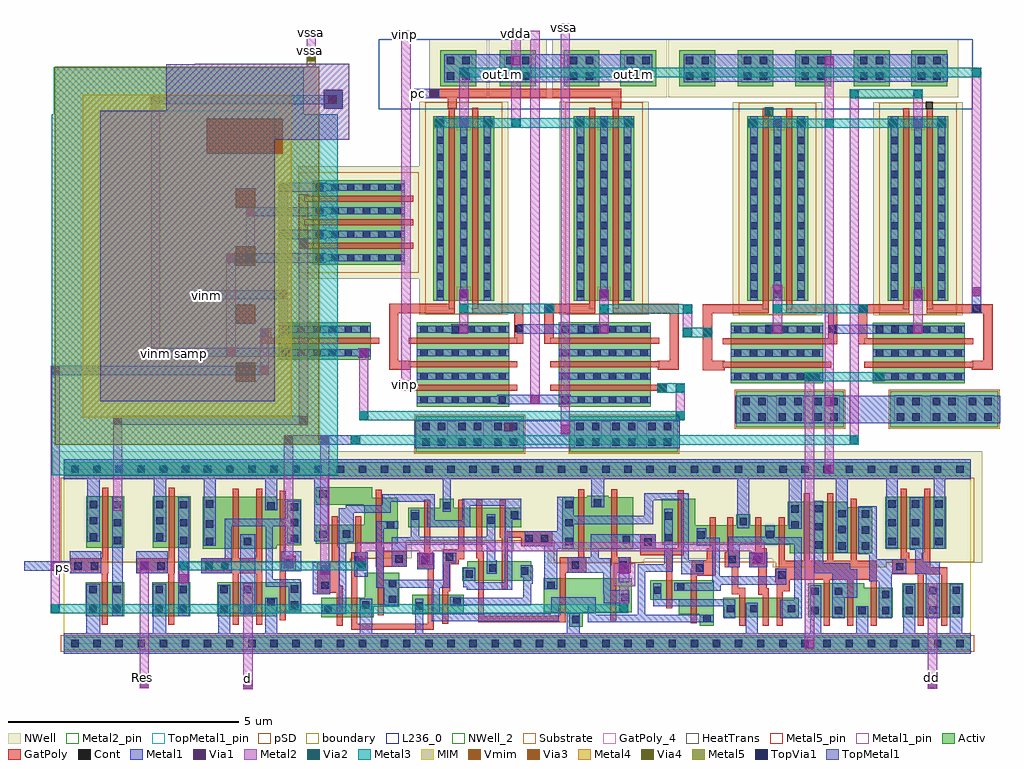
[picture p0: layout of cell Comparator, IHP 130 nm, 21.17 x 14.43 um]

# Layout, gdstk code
from math import pi, radians
import gdstk
lib = gdstk.Library(unit=1e-6, precision=1e-09)
def R(c, l, rs):  # rectangles x0, y0, x1, y1
    for r in rs: c.add(gdstk.rectangle(r[:2], r[2:], *l))
def A(c, l, x, y, w, h, nx, ny, dx, dy):  # array of equal rectangles
    R(c, l, [(x+i*dx, y+j*dy, x+i*dx+w, y+j*dy+h) for i in range(nx) for j in range(ny)])
def P(c, l, *ps):  # polygons
    for p in ps: c.add(gdstk.Polygon(p, *l))
Activ = (1, 0)
GatPoly = (5, 0)
GatPoly_4 = (5, 4)
Cont = (6, 0)
Metal1 = (8, 0)
Metal1_pin = (8, 2)
Metal2 = (10, 0)
Metal2_pin = (10, 2)
pSD = (14, 0)
Via1 = (19, 0)
Via2 = (29, 0)
Metal3 = (30, 0)
NWell = (31, 0)
NWell_2 = (31, 2)
MIM = (36, 0)
Substrate = (40, 0)
Via3 = (49, 0)
Metal4 = (50, 0)
HeatTrans = (51, 0)
Via4 = (66, 0)
Metal5 = (67, 0)
Metal5_pin = (67, 2)
TopVia1 = (125, 0)
TopMetal1 = (126, 0)
TopMetal1_pin = (126, 2)
Vmim = (129, 0)
boundary = (189, 4)
L236_0 = (236, 0)

ntap = lib.new_cell('ntap')
R(ntap, Activ, [(0,0,0.78,0.78)])
R(ntap, Cont, [(0.14,0.14,0.3,0.3), (0.48,0.14,0.64,0.3), (0.14,0.48,0.3,0.64), (0.48,0.48,0.64,0.64)])
R(ntap, Metal1, [(0.09,0.09,0.69,0.69)])
R(ntap, Metal1_pin, [(0.09,0.09,0.69,0.69)])
R(ntap, NWell, [(-0.24,-0.24,1.02,1.02)])
R(ntap, NWell_2, [(0,0,0.78,0.78)])
R(ntap, L236_0, [(-1.334,-0.5,1.334,1.02)])
ntap.add(gdstk.Label('well', (0,0), layer=63, texttype=0))
ntap.add(gdstk.Label('[@instanceName]', (0,0.26), layer=236, texttype=1))

sg13g2_buf_2 = lib.new_cell('sg13g2_buf_2')
R(sg13g2_buf_2, Activ, [(0,-0.15,2.4,0.15), (0,3.63,2.4,3.93)])
P(sg13g2_buf_2, Activ, [(0.445,0.59),(0.445,1.33),(2.275,1.33),(2.275,0.69),(1.735,0.69),(1.735,0.59)],
  [(0.13,2.06),(0.13,3.18),(1.735,3.18),(1.735,3.135),(2.275,3.135),(2.275,2.135),(1.735,2.135),(1.735,2.06)])
P(sg13g2_buf_2, GatPoly, [(0.785,0.41),(0.785,1.52),(0.105,1.52),(0.105,1.85),(0.785,1.85),(0.785,3.36),(0.915,3.36),(0.915,1.85),(1.295,1.85),(1.295,3.36),(1.425,3.36),(1.425,0.41),(1.295,0.41),(1.295,1.52),(0.915,1.52),(0.915,0.41)],
  [(1.805,0.51),(1.805,3.315),(1.935,3.315),(1.935,1.9),(2.155,1.9),(2.155,1.57),(1.935,1.57),(1.935,0.51)])
A(sg13g2_buf_2, Cont, 0.16, -0.08, 0.16, 0.16, 3, 1, 0.48, 0)
A(sg13g2_buf_2, Cont, 2.045, 2.205, 0.16, 0.16, 1, 3, 0, 0.34)
R(sg13g2_buf_2, Cont, [(0.16,-0.08,0.32,0.08), (1.12,-0.08,1.28,0.08), (1.6,-0.08,1.76,0.08), (1.6,-0.08,1.76,0.08), (2.08,-0.08,2.24,0.08), (2.08,-0.08,2.24,0.08), (0.515,0.66,0.675,0.82), (1.025,0.66,1.185,0.82), (2.045,0.76,2.205,0.92), (1.535,0.815,1.695,0.975), (0.515,1.095,0.675,1.255), (1.025,1.095,1.185,1.255), (2.045,1.1,2.205,1.26), (0.19,1.605,0.35,1.765), (0.53,1.605,0.69,1.765), (1.91,1.655,2.07,1.815), (1.025,2.13,1.185,2.29), (0.2,2.135,0.36,2.295), (0.2,2.51,0.36,2.67), (1.535,2.905,1.695,3.065), (0.2,2.945,0.36,3.105), (0.16,3.7,0.32,3.86), (0.16,3.7,0.32,3.86), (0.64,3.7,0.8,3.86), (0.64,3.7,0.8,3.86), (1.12,3.7,1.28,3.86), (1.12,3.7,1.28,3.86), (1.6,3.7,1.76,3.86), (1.6,3.7,1.76,3.86), (2.08,3.7,2.24,3.86), (2.08,3.7,2.24,3.86)])
R(sg13g2_buf_2, Metal1, [(0.945,0.635,1.275,2.37), (1.835,1.57,2.275,2)])
P(sg13g2_buf_2, Metal1, [(0,-0.22),(0,0.22),(0.465,0.22),(0.465,1.275),(0.725,1.275),(0.725,0.22),(1.485,0.22),(1.485,0.995),(1.745,0.995),(1.745,0.22),(2.4,0.22),(2.4,-0.22)],
  [(1.995,0.72),(1.995,1.23),(1.495,1.23),(1.495,2.55),(0.765,2.55),(0.765,1.52),(0.105,1.52),(0.105,1.85),(0.605,1.85),(0.605,2.71),(1.97,2.71),(1.97,3.1),(2.26,3.1),(2.26,2.18),(1.97,2.18),(1.97,2.55),(1.655,2.55),(1.655,1.39),(2.255,1.39),(2.255,0.72)],
  [(0.15,2.12),(0.15,3.56),(0,3.56),(0,4),(2.4,4),(2.4,3.56),(1.745,3.56),(1.745,2.895),(1.485,2.895),(1.485,3.56),(0.41,3.56),(0.41,2.12)])
R(sg13g2_buf_2, Metal1_pin, [(0,-0.22,2.4,0.22), (0.945,0.635,1.275,2.37), (1.835,1.57,2.275,2), (0,3.56,2.4,4)])
R(sg13g2_buf_2, pSD, [(-0.07,-0.18,2.47,0.18), (-0.07,1.76,2.56,3.6)])
R(sg13g2_buf_2, NWell, [(-0.24,1.75,2.64,4.17)])
R(sg13g2_buf_2, boundary, [(0,0,2.4,3.78)])
sg13g2_buf_2.add(gdstk.Label('A', (2.055,1.78), layer=8, texttype=25))
sg13g2_buf_2.add(gdstk.Label('X', (1.125,1.68), layer=8, texttype=25))
sg13g2_buf_2.add(gdstk.Label('VDD', (0.965,3.78), layer=8, texttype=25))
sg13g2_buf_2.add(gdstk.Label('VSS', (1.175,-0.005), layer=8, texttype=25))

cmim = lib.new_cell('cmim')
R(cmim, MIM, [(0,0,7,4.54)])
R(cmim, Metal5, [(-0.6,-0.6,7.6,5.14)])
R(cmim, Metal5_pin, [(-0.6,-0.6,7.6,5.14)])
R(cmim, TopMetal1, [(0.345,0.375,6.645,4.155)])
R(cmim, TopMetal1_pin, [(0.345,0.375,6.645,4.155)])
A(cmim, Vmim, 0.765, 0.795, 0.42, 0.42, 5, 1, 1.26, 0)

pmos = lib.new_cell('pmos')
A(pmos, Activ, 0, 0, 0.3, 0.3, 4, 1, 0.51, 0)
R(pmos, Activ, [(0,0,1.83,2)])
A(pmos, GatPoly, 0.34, -0.18, 0.13, 2.36, 3, 1, 0.51, 0)
R(pmos, GatPoly, [(0.34,-0.18,0.47,2.18), (0.34,-0.18,0.47,2.18)])
A(pmos, Cont, 0.07, 0.07, 0.16, 0.16, 4, 6, 0.51, 0.34)
A(pmos, Metal1, 0.58, 0, 0.16, 2, 3, 1, 0.51, 0)
R(pmos, Metal1, [(0.07,0,0.23,2), (0.07,0,0.23,2), (0.07,0,0.23,2), (0.58,0,0.74,2), (0.58,0,0.74,2)])
R(pmos, pSD, [(-0.18,-0.3,2.01,2.3)])
R(pmos, NWell, [(-0.31,-0.31,2.14,2.31)])
R(pmos, Substrate, [(1.53,0,1.83,0.3), (1.53,0,1.83,0.3)])
A(pmos, HeatTrans, 0.34, -0.18, 0.13, 2.36, 3, 1, 0.51, 0)
pmos.add(gdstk.Label('pmos', (0.405,1), layer=51, texttype=0))
pmos.add(gdstk.Label('pmos', (0.915,1), layer=51, texttype=0))
pmos.add(gdstk.Label('pmos', (1.425,1), layer=51, texttype=0))
pmos.add(gdstk.Label('pmos', (0.405,1), layer=63, texttype=0))

pmos_2 = lib.new_cell('pmos$2')
R(pmos_2, Activ, [(0,0,0.81,4), (0,0,0.3,0.3), (0.51,0,0.81,0.3)])
R(pmos_2, GatPoly, [(0.34,-0.18,0.47,4.18), (0.34,-0.18,0.47,4.18), (0.34,-0.18,0.47,4.18)])
A(pmos_2, Cont, 0.07, 0.07, 0.16, 0.16, 1, 11, 0, 0.37)
A(pmos_2, Cont, 0.58, 0.07, 0.16, 0.16, 1, 11, 0, 0.37)
R(pmos_2, Metal1, [(0.07,0,0.23,4), (0.07,0,0.23,4), (0.07,0,0.23,4), (0.58,0,0.74,4), (0.58,0,0.74,4), (0.58,0,0.74,4)])
R(pmos_2, pSD, [(-0.18,-0.3,0.99,4.3)])
R(pmos_2, NWell, [(-0.31,-0.31,1.12,4.31)])
R(pmos_2, Substrate, [(0.51,0,0.81,0.3), (0.51,0,0.81,0.3)])
R(pmos_2, HeatTrans, [(0.34,-0.18,0.47,4.18)])
pmos_2.add(gdstk.Label('pmos', (0.405,2), layer=51, texttype=0))
pmos_2.add(gdstk.Label('pmos', (0.405,2), layer=63, texttype=0))

sg13g2_dfrbp_2 = lib.new_cell('sg13g2_dfrbp_2')
R(sg13g2_dfrbp_2, Activ, [(0,-0.15,14.4,0.15), (9.03,0.57,10.66,0.99), (12.91,0.57,14.23,1.31), (2.28,0.635,3.4,1.055), (12.535,2.06,13.86,3.18), (0,3.63,14.4,3.93)])
P(sg13g2_dfrbp_2, Activ, [(0.19,2.16),(0.19,2.58),(1.24,2.58),(1.24,3.01),(0.19,3.01),(0.19,3.395),(1.415,3.395),(1.415,3.16),(1.96,3.16),(1.96,2.16)],
  [(0.3,0.57),(0.3,0.99),(1.245,0.99),(1.245,1.535),(2,1.535),(2,0.795),(1.445,0.795),(1.445,0.57)],
  [(2.19,2.525),(2.19,2.945),(2.88,2.945),(2.88,3.14),(3.18,3.14),(3.18,2.945),(4.645,2.945),(4.645,2.525)],
  [(3.365,1.36),(3.365,1.66),(3.475,1.66),(3.475,1.78),(3.905,1.78),(3.905,1.79),(4.145,1.79),(4.145,1.78),(4.86,1.78),(4.86,1.36)],
  [(5.53,2.05),(5.53,3.17),(6.075,3.17),(6.075,3.205),(6.53,3.205),(6.53,3.17),(7.07,3.17),(7.07,2.05)],
  [(5.68,0.365),(5.68,0.675),(5.135,0.675),(5.135,1.415),(7.045,1.415),(7.045,0.675),(5.98,0.675),(5.98,0.365)],
  [(8.52,0.39),(8.52,0.635),(8.06,0.635),(8.06,0.955),(7.445,0.955),(7.445,1.375),(8.82,1.375),(8.82,0.39)],
  [(10.47,1.96),(10.47,2.145),(7.695,2.145),(7.695,3.145),(8.415,3.145),(8.415,2.565),(9.31,2.565),(9.31,2.8),(9.61,2.8),(9.61,2.565),(10.43,2.565),(10.43,3.08),(11.715,3.08),(11.715,2.96),(12.26,2.96),(12.26,1.96)],
  [(10.87,0.57),(10.87,1.31),(12.08,1.31),(12.08,1.21),(12.7,1.21),(12.7,0.57)])
P(sg13g2_dfrbp_2, GatPoly, [(0.64,0.39),(0.64,1.1),(0.22,1.1),(0.22,1.77),(0.53,1.77),(0.53,2.76),(0.66,2.76),(0.66,2.085),(0.71,2.085),(0.71,1.25),(0.77,1.25),(0.77,0.39)],
  [(0.95,0.295),(0.95,1.98),(1.04,1.98),(1.04,2.76),(1.17,2.76),(1.17,1.98),(1.28,1.98),(1.28,1.65),(1.08,1.65),(1.08,0.43),(2.62,0.43),(2.62,1.645),(2.385,1.645),(2.385,1.975),(2.54,1.975),(2.54,3.125),(2.67,3.125),(2.67,1.975),(2.75,1.975),(2.75,0.295)],
  [(2.93,0.425),(2.93,1.25),(2.955,1.25),(2.955,1.715),(2.935,1.715),(2.935,2.045),(3.275,2.045),(3.275,3.125),(3.405,3.125),(3.405,1.83),(3.285,1.83),(3.285,1.715),(3.105,1.715),(3.105,1.13),(3.06,1.13),(3.06,0.425)],
  [(1.53,0.615),(1.53,1.67),(1.49,1.67),(1.49,3.34),(1.62,3.34),(1.62,2.085),(1.67,2.085),(1.67,2),(2.155,2),(2.155,1.67),(1.66,1.67),(1.66,0.615)],
  [(4.215,1.18),(4.215,2.29),(4.175,2.29),(4.175,3.125),(4.305,3.125),(4.305,2.44),(5.315,2.44),(5.315,2.11),(4.645,2.11),(4.645,2.29),(4.345,2.29),(4.345,1.18)],
  [(3.705,0.465),(3.705,1.855),(3.665,1.855),(3.665,3.125),(3.795,3.125),(3.795,2.005),(3.835,2.005),(3.835,0.605),(5.475,0.605),(5.475,1.87),(5.875,1.87),(5.875,3.35),(6.005,3.35),(6.005,1.87),(6.05,1.87),(6.05,1.54),(5.605,1.54),(5.605,0.465)],
  [(8.32,0.445),(8.32,1.625),(8.345,1.625),(8.345,1.805),(8.665,1.805),(8.665,2.07),(8.73,2.07),(8.73,2.745),(8.86,2.745),(8.86,1.475),(8.45,1.475),(8.45,0.445)],
  [(9.37,0.39),(9.37,1.065),(9.205,1.065),(9.205,1.655),(9.055,1.655),(9.055,1.985),(9.11,1.985),(9.11,2.745),(9.24,2.745),(9.24,1.985),(9.385,1.985),(9.385,1.655),(9.355,1.655),(9.355,1.215),(9.5,1.215),(9.5,0.39)],
  [(9.88,0.39),(9.88,1.06),(9.785,1.06),(9.785,1.65),(9.595,1.65),(9.595,1.98),(9.72,1.98),(9.72,2.745),(9.85,2.745),(9.85,2.07),(9.97,2.07),(9.97,1.195),(10.01,1.195),(10.01,0.39)],
  [(10.19,0.39),(10.19,1.33),(10.15,1.33),(10.15,1.635),(10.23,1.635),(10.23,2.745),(10.36,2.745),(10.36,1.8),(10.77,1.8),(10.77,3.26),(10.9,3.26),(10.9,1.8),(11.28,1.8),(11.28,3.26),(11.41,3.26),(11.41,1.8),(11.79,1.8),(11.79,3.14),(11.92,3.14),(11.92,1.8),(12.36,1.8),(12.36,0.39),(12.23,0.39),(12.23,1.385),(11.85,1.385),(11.85,0.39),(11.72,0.39),(11.72,1.385),(11.34,1.385),(11.34,0.39),(11.21,0.39),(11.21,1.385),(10.465,1.385),(10.465,1.135),(10.32,1.135),(10.32,0.39)],
  [(6.575,0.495),(6.575,1.69),(6.6,1.69),(6.6,3.35),(6.73,3.35),(6.73,1.87),(7.02,1.87),(7.02,1.54),(6.705,1.54),(6.705,0.495)],
  [(7.785,0.765),(7.785,1.92),(7.23,1.92),(7.23,2.37),(7.56,2.37),(7.56,2.07),(8.035,2.07),(8.035,3.325),(8.165,3.325),(8.165,1.92),(7.915,1.92),(7.915,0.765)],
  [(13.25,0.39),(13.25,1.5),(12.69,1.5),(12.69,1.83),(12.875,1.83),(12.875,3.36),(13.005,3.36),(13.005,1.965),(13.06,1.965),(13.06,1.83),(13.33,1.83),(13.33,1.965),(13.39,1.965),(13.39,3.36),(13.52,3.36),(13.52,1.65),(13.89,1.65),(13.89,0.39),(13.76,0.39),(13.76,1.5),(13.38,1.5),(13.38,0.39)])
A(sg13g2_dfrbp_2, Cont, 0.16, -0.08, 0.16, 0.16, 30, 2, 0.48, 3.78)
A(sg13g2_dfrbp_2, Cont, 10.94, 0.64, 0.16, 0.16, 5, 1, 0.51, 0)
A(sg13g2_dfrbp_2, Cont, 12.03, 2.04, 0.16, 0.16, 1, 3, 0, 0.345)
A(sg13g2_dfrbp_2, Cont, 12.605, 2.135, 0.16, 0.16, 1, 3, 0, 0.405)
A(sg13g2_dfrbp_2, Cont, 13.115, 2.135, 0.16, 0.16, 1, 3, 0, 0.405)
A(sg13g2_dfrbp_2, Cont, 13.63, 2.135, 0.16, 0.16, 1, 3, 0, 0.405)
R(sg13g2_dfrbp_2, Cont, [(5.75,0.445,5.91,0.605), (8.59,0.465,8.75,0.625), (13.49,0.645,13.65,0.805), (14,0.645,14.16,0.805), (0.37,0.675,0.53,0.835), (9.1,0.675,9.26,0.835), (9.61,0.675,9.77,0.835), (10.43,0.675,10.59,0.835), (2.35,0.735,2.51,0.895), (1.19,0.76,1.35,0.92), (3.17,0.825,3.33,0.985), (1.77,0.88,1.93,1.04), (6.815,0.92,6.975,1.08), (12.47,0.98,12.63,1.14), (10.94,1.055,11.1,1.215), (11.45,1.055,11.61,1.215), (13.49,1.07,13.65,1.23), (7.515,1.075,7.675,1.235), (14,1.075,14.16,1.235), (12.98,1.08,13.14,1.24), (8.025,1.145,8.185,1.305), (0.305,1.185,0.465,1.345), (5.205,1.185,5.365,1.345), (1.77,1.22,1.93,1.38), (10.22,1.405,10.38,1.565), (3.435,1.43,3.595,1.59), (4.63,1.49,4.79,1.65), (0.305,1.525,0.465,1.685), (3.945,1.56,4.105,1.72), (8.43,1.56,8.59,1.72), (12.775,1.585,12.935,1.745), (5.735,1.625,5.895,1.785), (6.775,1.625,6.935,1.785), (2.47,1.73,2.63,1.89), (1.035,1.735,1.195,1.895), (9.68,1.735,9.84,1.895), (9.14,1.74,9.3,1.9), (1.91,1.755,2.07,1.915), (3.01,1.8,3.17,1.96), (11.52,2.035,11.68,2.195), (11.01,2.055,11.17,2.215), (7.315,2.125,7.475,2.285), (5.6,2.135,5.76,2.295), (6.84,2.175,7,2.335), (4.73,2.195,4.89,2.355), (5.07,2.2,5.23,2.36), (7.765,2.215,7.925,2.375), (8.46,2.275,8.62,2.435), (9.96,2.285,10.12,2.445), (0.26,2.29,0.42,2.45), (0.77,2.295,0.93,2.455), (11.52,2.395,11.68,2.555), (11.01,2.455,11.17,2.615), (1.73,2.49,1.89,2.65), (10.5,2.495,10.66,2.655), (5.6,2.54,5.76,2.7), (9.38,2.565,9.54,2.725), (3.905,2.595,4.065,2.755), (2.26,2.69,2.42,2.85), (7.765,2.69,7.925,2.85), (4.415,2.705,4.575,2.865), (11.52,2.735,11.68,2.895), (10.5,2.835,10.66,2.995), (11.01,2.845,11.17,3.005), (2.95,2.91,3.11,3.07), (5.6,2.935,5.76,3.095), (6.22,2.97,6.38,3.13), (0.265,3.165,0.425,3.325)])
R(sg13g2_dfrbp_2, Metal1, [(0.125,1.07,0.5,1.77), (6.76,1.335,6.99,1.87), (1.025,1.45,1.315,1.98), (2.385,1.61,2.755,1.955), (9.595,1.65,9.985,1.97)])
P(sg13g2_dfrbp_2, Metal1, [(3.89,1.51),(3.89,2.145),(2.155,2.145),(2.155,1.67),(1.835,1.67),(1.835,2.305),(2.245,2.305),(2.245,2.9),(2.425,2.9),(2.425,2.315),(3.89,2.315),(3.89,2.805),(4.075,2.805),(4.075,1.81),(4.11,1.81),(4.11,1.51)],
  [(0,-0.22),(0,0.22),(1.14,0.22),(1.14,0.975),(1.41,0.975),(1.41,0.22),(2.345,0.22),(2.345,0.97),(2.515,0.97),(2.515,0.22),(5.635,0.22),(5.635,0.66),(5.91,0.66),(5.91,0.22),(9.51,0.22),(9.51,0.885),(9.77,0.885),(9.77,0.22),(10.91,0.22),(10.91,1.27),(11.155,1.27),(11.155,0.22),(11.91,0.22),(11.91,0.81),(12.17,0.81),(12.17,0.22),(12.93,0.22),(12.93,1.29),(13.19,1.29),(13.19,0.22),(13.935,0.22),(13.935,1.295),(14.21,1.295),(14.21,0.22),(14.4,0.22),(14.4,-0.22)],
  [(13.42,0.545),(13.42,1.515),(13.19,1.515),(13.19,2.04),(13.07,2.04),(13.07,3.175),(13.36,3.175),(13.36,1.775),(13.72,1.775),(13.72,0.545)],
  [(6.09,0.465),(6.09,0.84),(5.455,0.84),(5.455,0.485),(2.705,0.485),(2.705,1.215),(1.975,1.215),(1.975,0.815),(1.655,0.815),(1.655,1.215),(1.495,1.215),(1.495,2.655),(1.97,2.655),(1.97,2.485),(1.655,2.485),(1.655,1.385),(2.935,1.385),(2.935,1.965),(3.23,1.965),(3.23,1.755),(3.095,1.755),(3.095,1.215),(2.875,1.215),(2.875,0.645),(5.295,0.645),(5.295,1),(6.255,1),(6.255,0.625),(7.17,0.625),(7.17,1.725),(7.745,1.725),(7.745,2.925),(7.935,2.925),(7.935,1.555),(7.33,1.555),(7.33,0.625),(8.82,0.625),(8.82,0.465)],
  [(11.465,1.975),(11.465,3.56),(10.725,3.56),(10.725,2.495),(10.45,2.495),(10.45,3.56),(9.595,3.56),(9.595,2.505),(9.33,2.505),(9.33,3.56),(6.445,3.56),(6.445,2.955),(6.16,2.955),(6.16,3.56),(3.115,3.56),(3.115,2.86),(2.945,2.86),(2.945,3.56),(0.46,3.56),(0.46,2.215),(0.15,2.215),(0.15,3.56),(0,3.56),(0,4),(14.4,4),(14.4,3.56),(13.84,3.56),(13.84,2.06),(13.59,2.06),(13.59,3.56),(12.815,3.56),(12.815,2.07),(12.56,2.07),(12.56,3.56),(11.725,3.56),(11.725,1.975)],
  [(12.4,0.55),(12.4,1.355),(12.19,1.355),(12.19,1.94),(11.95,1.94),(11.95,2.98),(12.36,2.98),(12.36,1.83),(13,1.83),(13,1.515),(12.685,1.515),(12.685,0.55)],
  [(5.145,1.18),(5.145,2.11),(4.72,2.11),(4.72,2.44),(5.425,2.44),(5.425,3.18),(5.785,3.18),(5.785,2.77),(7.315,2.77),(7.315,3.265),(8.275,3.265),(8.275,1.805),(8.605,1.805),(8.605,1.5),(8.115,1.5),(8.115,3.105),(7.505,3.105),(7.505,2.59),(5.785,2.59),(5.785,2.06),(5.42,2.06),(5.42,1.18)],
  [(10.26,0.55),(10.26,0.945),(10.57,0.945),(10.57,2.15),(9.385,2.15),(9.385,1.655),(9.13,1.655),(9.13,2.32),(9.935,2.32),(9.935,2.555),(10.14,2.555),(10.14,2.31),(10.73,2.31),(10.73,0.55)],
  [(7.96,1.145),(7.96,1.315),(8.79,1.315),(8.79,2.125),(8.455,2.125),(8.455,2.5),(8.66,2.5),(8.66,2.295),(8.95,2.295),(8.95,1.465),(10.165,1.465),(10.165,1.625),(10.39,1.625),(10.39,1.275),(8.97,1.275),(8.97,1.145)],
  [(3.095,0.825),(3.095,1.01),(3.345,1.01),(3.345,0.99),(4.685,0.99),(4.685,1.44),(4.63,1.44),(4.63,1.7),(4.895,1.7),(4.895,1.3),(4.865,1.3),(4.865,0.83),(3.46,0.83),(3.46,0.825)],
  [(9.04,0.55),(9.04,0.805),(7.51,0.805),(7.51,1.31),(7.68,1.31),(7.68,0.965),(9.29,0.965),(9.29,0.55)],
  [(6.435,0.87),(6.435,1.075),(6.42,1.075),(6.42,1.54),(5.65,1.54),(5.65,1.87),(6.15,1.87),(6.15,2.37),(7.56,2.37),(7.56,2.055),(6.32,2.055),(6.32,1.845),(6.58,1.845),(6.58,1.155),(6.99,1.155),(6.99,0.87)],
  [(11.395,0.55),(11.395,1.52),(11,1.52),(11,3.1),(11.19,3.1),(11.19,1.74),(11.78,1.74),(11.78,1.61),(11.93,1.61),(11.93,0.99),(11.66,0.99),(11.66,0.55)],
  [(0.315,0.645),(0.315,0.84),(0.685,0.84),(0.685,2.935),(0.84,2.935),(0.84,2.995),(1.63,2.995),(1.63,3.24),(2.765,3.24),(2.765,2.68),(3.365,2.68),(3.365,3.145),(4.645,3.145),(4.645,2.685),(4.45,2.685),(4.45,1.17),(3.465,1.17),(3.465,1.225),(3.385,1.225),(3.385,1.64),(3.645,1.64),(3.645,1.33),(4.29,1.33),(4.29,2.985),(3.535,2.985),(3.535,2.52),(2.605,2.52),(2.605,3.08),(1.815,3.08),(1.815,2.835),(1.01,2.835),(1.01,2.2),(0.845,2.2),(0.845,0.645)])
R(sg13g2_dfrbp_2, Metal1_pin, [(0,-0.22,14.4,0.22), (13.42,0.545,13.72,1.775), (11.395,0.99,11.93,1.61), (0.125,1.07,0.5,1.77), (0,3.56,14.4,4)])
R(sg13g2_dfrbp_2, Metal2, [(6.65,1.24,7.12,1.745)])
P(sg13g2_dfrbp_2, Metal2, [(1.075,1.58),(1.075,2.2),(9.93,2.2),(9.93,1.735),(9.64,1.735),(9.64,2),(2.72,2),(2.72,1.705),(2.43,1.705),(2.43,2),(1.275,2),(1.275,1.58)])
R(sg13g2_dfrbp_2, Metal2_pin, [(6.65,1.24,7.12,1.745), (2.96,2,4.485,2.2)])
R(sg13g2_dfrbp_2, pSD, [(-0.07,-0.18,14.47,0.18)])
P(sg13g2_dfrbp_2, pSD, [(10.17,1.66),(10.17,1.76),(7.245,1.76),(7.245,1.75),(5.35,1.75),(5.35,2.225),(2.14,2.225),(2.14,1.835),(0.945,1.835),(0.945,1.76),(-0.07,1.76),(-0.07,3.6),(14.47,3.6),(14.47,1.76),(12.56,1.76),(12.56,1.66)])
R(sg13g2_dfrbp_2, Via1, [(6.78,1.515,6.97,1.705), (1.08,1.66,1.27,1.85), (2.48,1.755,2.67,1.945), (9.69,1.77,9.88,1.96)])
P(sg13g2_dfrbp_2, NWell, [(10.095,1.65),(10.095,1.835),(7.315,1.835),(7.315,1.74),(5.22,1.74),(5.22,2.215),(2.27,2.215),(2.27,1.85),(0.935,1.85),(0.935,1.75),(-0.24,1.75),(-0.24,4.17),(14.64,4.17),(14.64,1.75),(12.57,1.75),(12.57,1.65)])
R(sg13g2_dfrbp_2, boundary, [(0,0,14.4,3.78)])
sg13g2_dfrbp_2.add(gdstk.Label('VSS', (6.77,0), layer=8, texttype=25))
sg13g2_dfrbp_2.add(gdstk.Label('RESET_B', (3.935,2.1), layer=10, texttype=25))
sg13g2_dfrbp_2.add(gdstk.Label('CLK', (6.89,1.455), layer=10, texttype=25))
sg13g2_dfrbp_2.add(gdstk.Label('VDD', (7.205,3.768), layer=8, texttype=1))
sg13g2_dfrbp_2.add(gdstk.Label('Q', (13.565,1.17), layer=8, texttype=1))
sg13g2_dfrbp_2.add(gdstk.Label('Q_N', (11.66,1.295), layer=8, texttype=1))
sg13g2_dfrbp_2.add(gdstk.Label('D', (0.325,1.53), layer=8, texttype=1))

nmos_2 = lib.new_cell('nmos$2')
R(nmos_2, Activ, [(0,0,0.81,2), (0,0,0.3,0.3), (0.51,0,0.81,0.3)])
R(nmos_2, GatPoly, [(0.34,-0.18,0.47,2.18)])
R(nmos_2, GatPoly_4, [(0.34,-0.18,0.47,2.18), (0.34,-0.18,0.47,2.18)])
A(nmos_2, Cont, 0.07, 0.07, 0.16, 0.16, 1, 6, 0, 0.34)
A(nmos_2, Cont, 0.58, 0.07, 0.16, 0.16, 1, 6, 0, 0.34)
R(nmos_2, Metal1, [(0.07,0,0.23,2), (0.58,0,0.74,2)])
R(nmos_2, Metal1_pin, [(0.07,0,0.23,2), (0.07,0,0.23,2), (0.58,0,0.74,2), (0.58,0,0.74,2)])
R(nmos_2, HeatTrans, [(0.34,-0.18,0.47,2.18)])
nmos_2.add(gdstk.Label('nmos', (0.405,1), layer=51, texttype=0))

sg13g2_inv_1 = lib.new_cell('sg13g2_inv_1')
R(sg13g2_inv_1, Activ, [(0,-0.15,1.44,0.15), (0.475,0.59,1.305,1.33), (0.485,2.075,1.315,3.195), (0,3.63,1.44,3.93)])
P(sg13g2_inv_1, GatPoly, [(0.825,0.41),(0.825,1.52),(0.145,1.52),(0.145,1.85),(0.835,1.85),(0.835,3.375),(0.965,3.375),(0.965,1.52),(0.955,1.52),(0.955,0.41)])
A(sg13g2_inv_1, Cont, 0.56, 2.235, 0.16, 0.16, 1, 3, 0, 0.35)
R(sg13g2_inv_1, Cont, [(0.16,-0.08,0.32,0.08), (0.16,-0.08,0.32,0.08), (0.64,-0.08,0.8,0.08), (0.64,-0.08,0.8,0.08), (1.12,-0.08,1.28,0.08), (1.12,-0.08,1.28,0.08), (0.55,0.67,0.71,0.83), (1.07,0.67,1.23,0.83), (0.55,1.095,0.71,1.255), (1.07,1.095,1.23,1.255), (0.23,1.605,0.39,1.765), (0.585,1.605,0.745,1.765), (1.08,2.155,1.24,2.315), (1.08,2.54,1.24,2.7), (1.075,2.93,1.235,3.09), (0.16,3.7,0.32,3.86), (0.16,3.7,0.32,3.86), (0.64,3.7,0.8,3.86), (0.64,3.7,0.8,3.86), (1.12,3.7,1.28,3.86), (1.12,3.7,1.28,3.86)])
R(sg13g2_inv_1, Metal1, [(1.045,0.595,1.275,3.175), (0.125,1.52,0.815,2)])
P(sg13g2_inv_1, Metal1, [(0,-0.22),(0,0.22),(0.485,0.22),(0.485,1.295),(0.785,1.295),(0.785,0.22),(1.44,0.22),(1.44,-0.22)],
  [(0.505,2.205),(0.505,3.56),(0,3.56),(0,4),(1.44,4),(1.44,3.56),(0.78,3.56),(0.78,2.205)])
R(sg13g2_inv_1, Metal1_pin, [(0,-0.22,1.44,0.22), (1.045,0.595,1.275,3.175), (0.125,1.52,0.815,2), (0,3.56,1.44,4)])
R(sg13g2_inv_1, pSD, [(-0.07,-0.18,1.51,0.18), (-0.07,1.76,1.51,3.6)])
R(sg13g2_inv_1, NWell, [(-0.24,1.75,1.68,4.17)])
R(sg13g2_inv_1, boundary, [(0,0,1.44,3.78)])
sg13g2_inv_1.add(gdstk.Label('VDD', (0.705,3.78), layer=8, texttype=25))
sg13g2_inv_1.add(gdstk.Label('VSS', (0.72,-0.02), layer=8, texttype=25))
sg13g2_inv_1.add(gdstk.Label('A', (0.485,1.76), layer=8, texttype=25))
sg13g2_inv_1.add(gdstk.Label('Y', (1.17,1.69), layer=8, texttype=25))

ptap = lib.new_cell('ptap')
R(ptap, Activ, [(0,0,0.78,0.78)])
R(ptap, Cont, [(0.14,0.14,0.3,0.3), (0.48,0.14,0.64,0.3), (0.14,0.48,0.3,0.64), (0.48,0.48,0.64,0.64)])
R(ptap, Metal1, [(0.09,0.09,0.69,0.69)])
R(ptap, Metal1_pin, [(0.09,0.09,0.69,0.69)])
R(ptap, pSD, [(-0.03,-0.03,0.81,0.81)])

comparator = lib.new_cell('Comparator')
R(comparator, GatPoly, [(2.085,-1.715,2.29,-1.48), (-0.98,-0.695,-0.735,-0.35)])
P(comparator, GatPoly, [(8.635,-1.265),(8.635,0.17),(10.065,0.17),(10.065,-0.03),(8.835,-0.03),(8.835,-1.065),(9.11,-1.065),(9.11,-1.265)],
  [(1.825,-1.26),(1.825,0.175),(3.255,0.175),(3.255,-0.025),(2.025,-0.025),(2.025,-1.06),(2.3,-1.06),(2.3,-1.26)],
  [(14.465,-1.26),(14.465,-1.06),(14.72,-1.06),(14.72,-0.03),(13.49,-0.03),(13.49,0.17),(14.92,0.17),(14.92,-1.26)],
  [(7.655,-1.255),(7.655,-1.055),(7.91,-1.055),(7.91,-0.025),(6.68,-0.025),(6.68,0.175),(8.11,0.175),(8.11,-1.255)],
  [(-0.13,1.365),(-0.13,2.555),(0.07,2.555),(0.07,1.365),(0.05,1.365)],
  [(12.005,-0.7),(12.005,0.17),(13.11,0.17),(13.11,-0.03),(12.205,-0.03),(12.205,-0.7)],
  [(5.195,-0.695),(5.195,0.175),(6.3,0.175),(6.3,-0.025),(5.395,-0.025),(5.395,-0.695)],
  [(11.35,-0.7),(11.35,-0.03),(10.445,-0.03),(10.445,0.17),(11.55,0.17),(11.55,-0.7)],
  [(4.54,-0.695),(4.54,-0.025),(3.635,-0.025),(3.635,0.175),(4.74,0.175),(4.74,-0.695)],
  [(6.66,4.41),(6.66,4.64),(3.295,4.64),(3.295,4.415),(3.095,4.415),(3.095,4.64),(2.7,4.64),(2.7,4.77),(2.7,4.84),(6.86,4.84),(6.86,4.41)])
R(comparator, Cont, [(7.665,-1.73,7.825,-1.57), (2.105,-1.685,2.265,-1.525), (1.2,-0.97,1.36,-0.81), (-0.96,-0.535,-0.8,-0.375), (8.655,-0.525,8.815,-0.365), (11.37,-0.45,11.53,-0.29), (4.56,-0.445,4.72,-0.285), (12.03,-0.01,12.19,0.15), (14.49,-0.01,14.65,0.15), (5.22,-0.005,5.38,0.155), (-0.555,0.295,-0.395,0.455), (13.465,4.395,13.625,4.555), (2.715,4.66,2.875,4.82)])
R(comparator, Metal1, [(-6.095,-5.615,-4.77,-5.415), (2.385,-2.96,8.13,-2.36), (-0.455,-2.88,1.2,-2.68), (-4.16,-2.45,0.07,-2.25), (9.335,-2.415,15.08,-1.815), (2.065,-1.705,2.29,-1.505), (-5.52,-1.37,-0.78,-1.17), (1.16,-0.99,1.385,-0.79), (-3.335,-0.975,-0.32,-0.775), (-0.98,-0.555,-0.78,-0.35), (8.635,-0.545,8.835,-0.345), (-0.57,-0.48,-0.325,-0.28), (9.985,-0.475,10.355,-0.275), (11.42,-0.475,13.4,-0.275), (3.175,-0.47,3.545,-0.27), (4.61,-0.47,6.59,-0.27), (12.005,-0.03,12.215,0.17), (14.47,-0.03,14.67,0.535), (5.195,-0.025,5.405,0.175), (-2.395,0.275,-0.37,0.475), (-1.705,1.07,0.46,1.27), (-0.57,1.58,0.46,1.78), (-1.285,2.075,0.46,2.275), (-0.57,2.605,0.46,2.805), (-3.345,4.505,0.7,4.705), (2.375,4.64,2.91,4.84), (3.035,4.985,7.535,5.585), (8.22,4.99,13.945,5.59), (0.04,5.44,0.24,5.645)])
P(comparator, Metal1, [(4.17,-2),(4.17,-1.8),(5.77,-1.8),(5.77,-1.915),(5.77,-2)])
R(comparator, Metal2, [(-1.335,-8.185,-1.135,-5.89), (13.515,-8.175,13.715,-5.885), (-3.585,-8.17,-3.385,-5.4), (10.845,-7.31,11.045,-1.305), (-5.52,-6.54,-5.32,-1.17), (6.815,-6.54,7.015,-5.48), (-2.735,-5.885,-2.535,-5.405), (0.33,-5.705,0.53,-2.68), (-0.455,-5.565,-0.255,-2.68), (-4.16,-4.31,-3.96,-2.25), (11.275,-3.515,11.475,4.19), (0.99,-2.88,1.2,-2.68), (11.815,-2.88,12.015,4.83), (5.55,-2.65,5.75,6.25), (-0.13,-2.46,0.07,1.565), (1.175,-2.35,1.375,-0.79), (8.045,-2.35,8.245,-1.55), (4.89,-2,5.09,6.105), (7.645,-1.75,7.855,-1.55), (2.095,-1.705,2.295,6.095), (-0.98,-1.37,-0.78,-0.35), (-3.335,-0.975,-3.135,4.705), (-1.705,-0.975,-1.505,1.27), (8.2,-0.545,8.4,0.165), (8.635,-0.545,8.835,-0.345), (-0.57,-0.48,-0.37,2.805), (10.155,-0.475,10.355,0.585), (13.2,-0.475,13.4,0.49), (3.345,-0.47,3.545,0.495), (6.39,-0.47,6.59,0.495), (14.47,0.335,14.67,5.295), (-1.285,1.07,-1.085,2.275), (13.2,3.98,13.4,4.83), (9.615,3.99,9.815,4.19), (10.665,3.99,10.865,4.19), (11.275,3.99,11.475,5.55), (12.66,3.99,12.86,4.19), (13.715,3.99,13.915,4.19), (3.35,3.995,3.55,5.295), (2.82,4,3.02,4.2), (3.87,4,4.07,4.2), (4.48,4,4.68,6.1), (5.865,4,6.065,4.2), (6.92,4,7.12,4.2), (0.5,4.505,0.7,4.705), (0.04,5.44,0.24,6.095)])
R(comparator, Via1, [(-1.33,-8.18,-1.14,-7.99), (13.52,-8.17,13.71,-7.98), (-3.58,-8.165,-3.39,-7.975), (10.855,-7.3,11.045,-7.11), (-2.73,-5.88,-2.54,-5.69), (0.335,-5.7,0.525,-5.51), (-5.515,-5.61,-5.325,-5.42), (-3.58,-5.6,-3.39,-5.41), (-0.45,-5.55,-0.26,-5.36), (11.28,-3.505,11.47,-3.315), (-0.45,-2.875,-0.26,-2.685), (0.335,-2.875,0.525,-2.685), (5.555,-2.635,5.745,-2.445), (4.325,-2.59,4.515,-2.4), (-4.155,-2.445,-3.965,-2.255), (-0.125,-2.445,0.065,-2.255), (11.275,-2.045,11.465,-1.855), (4.895,-1.995,5.085,-1.805), (2.095,-1.7,2.285,-1.51), (10.85,-1.5,11.04,-1.31), (12.365,-1.5,12.555,-1.31), (-5.515,-1.365,-5.325,-1.175), (-0.975,-1.365,-0.785,-1.175), (1.19,-0.985,1.38,-0.795), (-3.33,-0.97,-3.14,-0.78), (-1.7,-0.97,-1.51,-0.78), (-0.52,-0.97,-0.33,-0.78), (-0.975,-0.55,-0.785,-0.36), (8.64,-0.54,8.83,-0.35), (-0.565,-0.47,-0.375,-0.28), (10.16,-0.47,10.35,-0.28), (13.205,-0.47,13.395,-0.28), (3.35,-0.465,3.54,-0.275), (6.395,-0.465,6.585,-0.275), (-2.39,0.28,-2.2,0.47), (-0.565,0.28,-0.375,0.47), (13.205,0.295,13.395,0.485), (3.35,0.3,3.54,0.49), (6.395,0.3,6.585,0.49), (14.475,0.34,14.665,0.53), (10.16,0.39,10.35,0.58), (-1.7,1.075,-1.51,1.265), (-1.28,1.075,-1.09,1.265), (-0.125,1.37,0.065,1.56), (-0.565,1.585,-0.375,1.775), (-1.28,2.08,-1.09,2.27), (-0.565,2.61,-0.375,2.8), (13.205,3.985,13.395,4.175), (10.15,3.99,10.34,4.18), (9.62,3.995,9.81,4.185), (10.67,3.995,10.86,4.185), (10.67,3.995,10.86,4.185), (12.665,3.995,12.855,4.185), (13.72,3.995,13.91,4.185), (3.355,4,3.545,4.19), (2.825,4.005,3.015,4.195), (3.875,4.005,4.065,4.195), (3.875,4.005,4.065,4.195), (5.87,4.005,6.06,4.195), (6.925,4.005,7.115,4.195), (-3.34,4.505,-3.15,4.695), (0.505,4.51,0.695,4.7), (2.705,4.645,2.895,4.835), (4.485,5.355,4.675,5.545), (11.28,5.355,11.47,5.545)])
R(comparator, Via2, [(-5.515,-6.535,-5.325,-6.345), (6.82,-6.535,7.01,-6.345), (-2.73,-5.6,-2.54,-5.41), (1.13,-5.6,1.32,-5.41), (0.995,-2.875,1.185,-2.685), (11.82,-2.875,12.01,-2.685), (1.18,-2.345,1.37,-2.155), (8.05,-2.345,8.24,-2.155), (7.65,-1.745,7.84,-1.555), (8.05,-1.745,8.24,-1.555), (10.85,-1.5,11.04,-1.31), (12.365,-1.5,12.555,-1.31), (8.205,-0.54,8.395,-0.35), (8.64,-0.54,8.83,-0.35), (6.395,-0.03,6.585,0.16), (8.205,-0.03,8.395,0.16), (10.16,-0.025,10.35,0.165), (3.35,-0.02,3.54,0.17), (9.62,3.995,9.81,4.185), (10.67,3.995,10.86,4.185), (10.67,3.995,10.86,4.185), (11.28,3.995,11.47,4.185), (12.665,3.995,12.855,4.185), (13.72,3.995,13.91,4.185), (2.825,4.005,3.015,4.195), (3.875,4.005,4.065,4.195), (3.875,4.005,4.065,4.195), (4.485,4.005,4.675,4.195), (5.87,4.005,6.06,4.195), (6.925,4.005,7.115,4.195), (9.975,4.255,10.165,4.445), (0.505,4.51,0.695,4.7), (11.82,4.635,12.01,4.825), (13.205,4.635,13.395,4.825), (3.355,5.1,3.545,5.29), (14.475,5.1,14.665,5.29), (0.045,5.445,0.235,5.635)])
R(comparator, Metal3, [(-5.52,-6.54,7.015,-6.34), (-2.74,-5.605,1.325,-5.405), (0.99,-2.88,12.015,-2.68), (1.18,-2.35,8.245,-2.15), (7.645,-1.75,8.245,-1.55), (10.845,-1.505,12.57,-1.305), (8.2,-0.545,8.835,-0.345), (6.39,-0.035,8.4,0.165), (10.155,-0.03,12.215,0.17), (3.345,-0.025,5.405,0.175), (9.615,3.99,13.915,4.19), (10.665,3.99,10.865,4.19), (12.66,3.99,12.86,4.19), (13.715,3.99,13.915,4.19), (2.82,4,7.12,4.2), (3.87,4,4.07,4.2), (5.865,4,6.065,4.2), (6.92,4,7.12,4.2), (0.5,4.505,0.7,4.705), (11.815,4.63,13.4,4.83), (3.35,5.095,14.67,5.295), (0.04,5.44,0.24,5.645)])
P(comparator, Metal3, [(-5.495,-3.545),(-5.495,4.285),(-5.45,4.285),(-5.45,5.305),(-0.025,5.305),(-0.025,4.285),(0.715,4.285),(0.715,-3.545)])
R(comparator, Via3, [(0.505,4.51,0.695,4.7)])
R(comparator, Metal4, [(0.5,4.505,0.7,4.705), (0.04,5.44,0.24,5.645)])
R(comparator, Via4, [(0.505,4.51,0.695,4.7), (0.045,5.445,0.235,5.635)])
R(comparator, Metal5, [(0.04,5.065,0.24,5.645)])
R(comparator, TopVia1, [(0.405,4.405,0.825,4.825)])
P(comparator, TopMetal1, [(-2.38,3.74),(-2.38,4.29),(-3.01,4.29),(-3.01,5.375),(-2.38,5.375),(-2.38,5.38),(0.96,5.38),(0.96,3.74)])
R(comparator, Vmim, [(-2.125,3.435,-0.485,4.195)])
comparator.add(gdstk.Reference(ntap, (2.935,4.895)))
comparator.add(gdstk.Reference(ntap, (4.23,4.895)))
comparator.add(gdstk.Reference(ntap, (5.61,4.895)))
comparator.add(gdstk.Reference(ntap, (6.84,4.895)))
comparator.add(gdstk.Reference(ntap, (8.125,4.895)))
comparator.add(gdstk.Reference(ntap, (9.385,4.895)))
comparator.add(gdstk.Reference(ntap, (10.635,4.895)))
comparator.add(gdstk.Reference(ntap, (11.905,4.895)))
comparator.add(gdstk.Reference(ntap, (13.155,4.895)))
comparator.add(gdstk.Reference(sg13g2_buf_2, (-2.35,-7.195)))
comparator.add(gdstk.Reference(cmim, (-0.285,-2.285), rotation=pi/2))
comparator.add(gdstk.Reference(pmos, (0.165,1.025), rotation=pi/2, x_reflection=True))
comparator.add(gdstk.Reference(pmos_2, (13.96,0.24), rotation=pi, x_reflection=True))
comparator.add(gdstk.Reference(pmos_2, (7.15,0.245), rotation=pi, x_reflection=True))
comparator.add(gdstk.Reference(sg13g2_dfrbp_2, (0.05,-7.195)))
comparator.add(gdstk.Reference(pmos_2, (12.64,4.24), x_reflection=True))
comparator.add(gdstk.Reference(pmos_2, (5.83,4.245), x_reflection=True))
comparator.add(gdstk.Reference(nmos_2, (2.43,-2.055), rotation=pi/2, x_reflection=True))
comparator.add(gdstk.Reference(nmos_2, (5.505,-2.055), rotation=pi/2, x_reflection=True))
comparator.add(gdstk.Reference(nmos_2, (12.315,-1.55), rotation=pi/2, x_reflection=True))
comparator.add(gdstk.Reference(nmos_2, (5.505,-1.545), rotation=pi/2, x_reflection=True))
comparator.add(gdstk.Reference(nmos_2, (12.315,-1.04), rotation=pi/2, x_reflection=True))
comparator.add(gdstk.Reference(nmos_2, (-0.57,-1.035), rotation=pi/2, x_reflection=True))
comparator.add(gdstk.Reference(nmos_2, (5.505,-1.035), rotation=pi/2, x_reflection=True))
comparator.add(gdstk.Reference(sg13g2_inv_1, (-5.23,-7.195)))
comparator.add(gdstk.Reference(sg13g2_inv_1, (-3.79,-7.195)))
comparator.add(gdstk.Reference(pmos_2, (10.915,4.24), rotation=pi))
comparator.add(gdstk.Reference(pmos_2, (4.105,4.245), rotation=pi))
comparator.add(gdstk.Reference(ptap, (2.405,-3.045)))
comparator.add(gdstk.Reference(ptap, (3.185,-3.045)))
comparator.add(gdstk.Reference(ptap, (3.965,-3.045)))
comparator.add(gdstk.Reference(ptap, (5.75,-3.045)))
comparator.add(gdstk.Reference(ptap, (6.53,-3.045)))
comparator.add(gdstk.Reference(ptap, (7.31,-3.045)))
comparator.add(gdstk.Reference(ptap, (9.355,-2.5)))
comparator.add(gdstk.Reference(ptap, (10.135,-2.5)))
comparator.add(gdstk.Reference(ptap, (10.915,-2.5)))
comparator.add(gdstk.Reference(ptap, (12.7,-2.5)))
comparator.add(gdstk.Reference(ptap, (13.48,-2.5)))
comparator.add(gdstk.Reference(ptap, (14.26,-2.5)))
comparator.add(gdstk.Reference(nmos_2, (11.24,-1.55), rotation=pi/2))
comparator.add(gdstk.Reference(nmos_2, (4.43,-1.545), rotation=pi/2))
comparator.add(gdstk.Reference(nmos_2, (11.24,-1.04), rotation=pi/2))
comparator.add(gdstk.Reference(nmos_2, (4.43,-1.035), rotation=pi/2))
comparator.add(gdstk.Reference(pmos_2, (9.595,0.24)))
comparator.add(gdstk.Reference(pmos_2, (2.785,0.245)))
comparator.add(gdstk.Label('ps', (-5.26,-5.545), layer=8, texttype=0))
comparator.add(gdstk.Label('pc', (2.455,4.735), layer=8, texttype=25))
comparator.add(gdstk.Label('vinm', (-2.14,0.355), layer=8, texttype=25))
comparator.add(gdstk.Label('vinp', (2.17,-1.585), layer=8, texttype=25))
comparator.add(gdstk.Label('vssa', (0.095,5.67), layer=8, texttype=25))
comparator.add(gdstk.Label('vinm samp', (-2.83,-0.905), layer=8, texttype=25))
comparator.add(gdstk.Label('d', (-1.245,-7.945), layer=10, texttype=0))
comparator.add(gdstk.Label('dd', (13.585,-7.94), layer=10, texttype=0))
comparator.add(gdstk.Label('Res', (-3.53,-7.925), layer=10, texttype=25))
comparator.add(gdstk.Label('vdda', (4.56,6.04), layer=10, texttype=25))
comparator.add(gdstk.Label('vinp', (2.165,6.025), layer=10, texttype=25))
comparator.add(gdstk.Label('vssa', (4.98,6.045), layer=10, texttype=25))
comparator.add(gdstk.Label('vssa', (0.12,6.055), layer=10, texttype=25))
comparator.add(gdstk.Label('vssa', (5.61,6.18), layer=10, texttype=25))
comparator.add(gdstk.Label('out1m', (4.285,5.145), layer=30, texttype=25))
comparator.add(gdstk.Label('out1m', (7.13,5.145), layer=30, texttype=25))

lib.write_gds('Comparator.gds')
